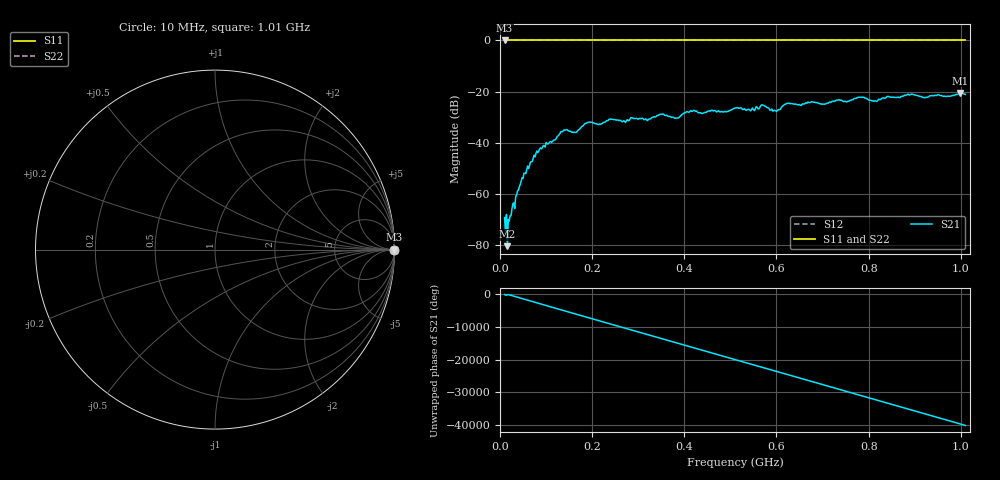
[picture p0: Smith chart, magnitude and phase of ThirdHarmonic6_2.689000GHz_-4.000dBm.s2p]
! 8/17/2025 6:21:58 AM
! C:\ANRITSUVNA\TEMP\TEMP.S2P
! CHANNEL.1
! TR.MEASUREMENT
! RAW.DATA
! RF.CORRECTION.OFF
! AVERAGING.OFF
! IF.BANDWIDTH: 5KHZ
! SWEEPTYPE:  FREQ.SWEEP(Linear)
! Reference Plane Port Info
! PORT:  PORT1  PORT2
! DISTANCE:  0  m  0  m
! TIME:  0  s  0  s
! PHASE.OFFSET:  0  deg.  0  deg.
! LOSS:  0  dB  0  dB
! REF.LOSS:  0  dB  0  dB
! REF.FREQ:  0  Hz  0  Hz
! Power Info
! POWER:  -20  dBm  -20  dBm
! EFF.POWER:  -20  dBm  -20  dBm
! SOURCE.ATTEN:  0  dB  0  dB
! TEST.ATTEN:  0  dB  0  dB
# GHZ S RI R 50.0
! FREQ.GHZ  S11RE  S11IM  S21RE  S21IM  S12RE  S12IM  S22RE  S22IM
!; PortSelection: Port_12
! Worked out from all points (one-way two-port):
!   501 points, 10 MHz to 1.01 GHz, reference 50 ohm
!   highest |S21| = -20.57 dB at 998 MHz (marker M1); lowest = -80.6 dB at 16 MHz (marker M2)
!   lowest |S11| = 0.0 dB at 10 MHz (marker M3)
!   |S11| at or under -10 dB: nowhere
!   |S22| runs from 0.0 to 0.0 dB; largest |S21 - S12| = 1.1
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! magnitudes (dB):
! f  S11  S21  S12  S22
! 10 MHz  0.0  -69.4  0.0  0.0
! 16 MHz  0.0  -80.6  0.0  0.0
! 48 MHz  0.0  -53.8  0.0  0.0
! 76 MHz  0.0  -45.6  0.0  0.0
! 136 MHz  0.0  -35.7  0.0  0.0
! 164 MHz  0.0  -36.0  0.0  0.0
! 178 MHz  0.0  -33.6  0.0  0.0
! 194 MHz  0.0  -31.9  0.0  0.0
! 344 MHz  0.0  -29.3  0.0  0.0
! 384 MHz  0.0  -30.4  0.0  0.0
! 418 MHz  0.0  -27.7  0.0  0.0
! 510 MHz  0.0  -26.5  0.0  0.0
! 548 MHz  0.0  -26.5  0.0  0.0
! 570 MHz  0.0  -25.3  0.0  0.0
! 596 MHz  0.0  -27.4  0.0  0.0
! 624 MHz  0.0  -24.6  0.0  0.0
! 678 MHz  0.0  -24.1  0.0  0.0
! 782 MHz  0.0  -22.2  0.0  0.0
! 814 MHz  0.0  -23.6  0.0  0.0
! 844 MHz  0.0  -22.0  0.0  0.0
! 998 MHz  0.0  -20.6  0.0  0.0
! 1.01 GHz  0.0  -21.1  0.0  0.0
